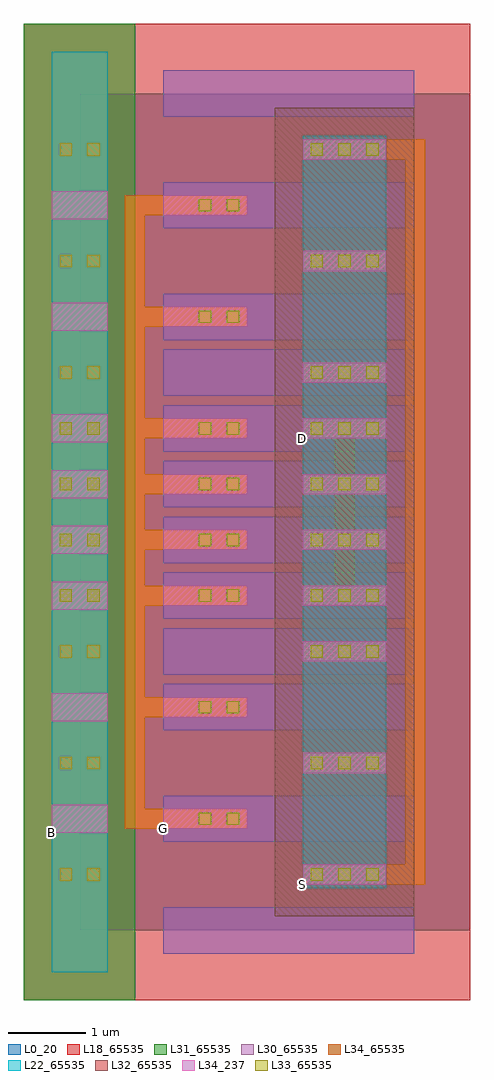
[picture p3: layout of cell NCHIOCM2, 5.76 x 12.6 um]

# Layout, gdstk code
import gdstk
lib = gdstk.Library(unit=1e-6, precision=1e-09)
def R(c, l, rs):  # rectangles x0, y0, x1, y1
    for r in rs: c.add(gdstk.rectangle(r[:2], r[2:], *l))
def A(c, l, x, y, w, h, nx, ny, dx, dy):  # array of equal rectangles
    R(c, l, [(x+i*dx, y+j*dy, x+i*dx+w, y+j*dy+h) for i in range(nx) for j in range(ny)])
L0_20 = (0, 20)
L18_65535 = (18, 65535)
L22_65535 = (22, 65535)
L30_65535 = (30, 65535)
L31_65535 = (31, 65535)
L32_65535 = (32, 65535)
L33_65535 = (33, 65535)
L34_237 = (34, 237)
L34_65535 = (34, 65535)

nchio = lib.new_cell('NCHIO')
R(nchio, L0_20, [(0,0,5.04,2.88)])
R(nchio, L18_65535, [(-0.72,-0.9,5.04,3.78)])
A(nchio, L22_65535, -0.36, -0.54, 0.72, 0.36, 1, 11, 0, 0.36)
A(nchio, L22_65535, 2.88, 0.54, 1.08, 0.36, 1, 5, 0, 0.36)
A(nchio, L30_65535, 1.08, -0.3, 3.24, 0.6, 1, 3, 0, 1.44)
R(nchio, L31_65535, [(-0.72,-0.9,0.72,3.78)])
R(nchio, L32_65535, [(2.52,0.18,4.32,2.7)])
A(nchio, L33_65535, 2.98, 0.64, 0.16, 0.16, 3, 2, 0.36, 1.44)
R(nchio, L33_65535, [(-0.26,0.64,-0.1,0.8), (0.1,0.64,0.26,0.8), (1.54,1.36,1.7,1.52), (1.9,1.36,2.06,1.52), (-0.26,2.08,-0.1,2.24), (0.1,2.08,0.26,2.24)])
R(nchio, L34_237, [(2.88,0.59,3.96,0.85), (-0.36,1.26,0.36,1.62), (1.08,1.31,2.16,1.57), (2.88,2.03,3.96,2.29)])
A(nchio, L34_65535, -0.36, -0.54, 0.72, 0.36, 1, 11, 0, 0.36)
R(nchio, L34_65535, [(2.88,0.59,3.96,0.85), (1.08,1.31,2.16,1.57), (2.88,2.03,3.96,2.29)])
nchio.add(gdstk.Label('G', (1.08,1.31), layer=34, texttype=237))
nchio.add(gdstk.Label('S', (2.88,0.59), layer=34, texttype=237))
nchio.add(gdstk.Label('B', (-0.36,1.26), layer=34, texttype=237))
nchio.add(gdstk.Label('D', (2.88,2.03), layer=34, texttype=237))

nchiocm = lib.new_cell('NCHIOCM')
R(nchiocm, L0_20, [(0,0,5.04,7.2)])
R(nchiocm, L34_237, [(2.88,0.59,3.96,0.85), (1.08,1.31,2.16,1.57), (2.88,6.35,3.96,6.61)])
A(nchiocm, L34_65535, 0.58, 1.31, 1.04, 0.26, 1, 4, 0, 1.44)
R(nchiocm, L34_65535, [(0.58,1.31,0.84,5.89)])
nchiocm.add(gdstk.Reference(nchio, (0,0)))
nchiocm.add(gdstk.Reference(nchio, (0,1.44)))
nchiocm.add(gdstk.Reference(nchio, (0,2.88)))
nchiocm.add(gdstk.Reference(nchio, (0,4.32)))
nchiocm.add(gdstk.Label('G', (1.08,1.31), layer=58, texttype=65535))
nchiocm.add(gdstk.Label('D', (2.88,6.35), layer=34, texttype=237))
nchiocm.add(gdstk.Label('G', (1.08,1.31), layer=34, texttype=237))
nchiocm.add(gdstk.Label('S', (2.88,0.59), layer=34, texttype=237))

nchiocm2 = lib.new_cell('NCHIOCM2')
R(nchiocm2, L0_20, [(0,0,5.04,10.8)])
R(nchiocm2, L34_237, [(2.88,0.59,3.96,0.85), (-0.36,1.26,0.36,1.62), (1.08,1.31,2.16,1.57), (2.88,6.35,3.96,6.61)])
R(nchiocm2, L34_65535, [(3.42,0.59,4.2,0.85), (4.2,0.59,4.46,10.21), (0.58,1.31,1.62,1.57), (0.58,1.31,0.84,5.17), (3.29,4.19,3.55,6.61), (0.58,4.91,1.62,5.17), (3.42,9.95,4.2,10.21)])
nchiocm2.add(gdstk.Reference(nchiocm, (0,0)))
nchiocm2.add(gdstk.Reference(nchiocm, (0,3.6)))
nchiocm2.add(gdstk.Label('S', (2.88,0.59), layer=58, texttype=65535))
nchiocm2.add(gdstk.Label('G', (1.08,1.31), layer=58, texttype=65535))
nchiocm2.add(gdstk.Label('D', (2.88,6.35), layer=58, texttype=65535))
nchiocm2.add(gdstk.Label('B', (-0.36,1.26), layer=34, texttype=237))
nchiocm2.add(gdstk.Label('D', (2.88,6.35), layer=34, texttype=237))
nchiocm2.add(gdstk.Label('G', (1.08,1.31), layer=34, texttype=237))
nchiocm2.add(gdstk.Label('S', (2.88,0.59), layer=34, texttype=237))

lib.write_gds('NCHIOCM2.gds')
